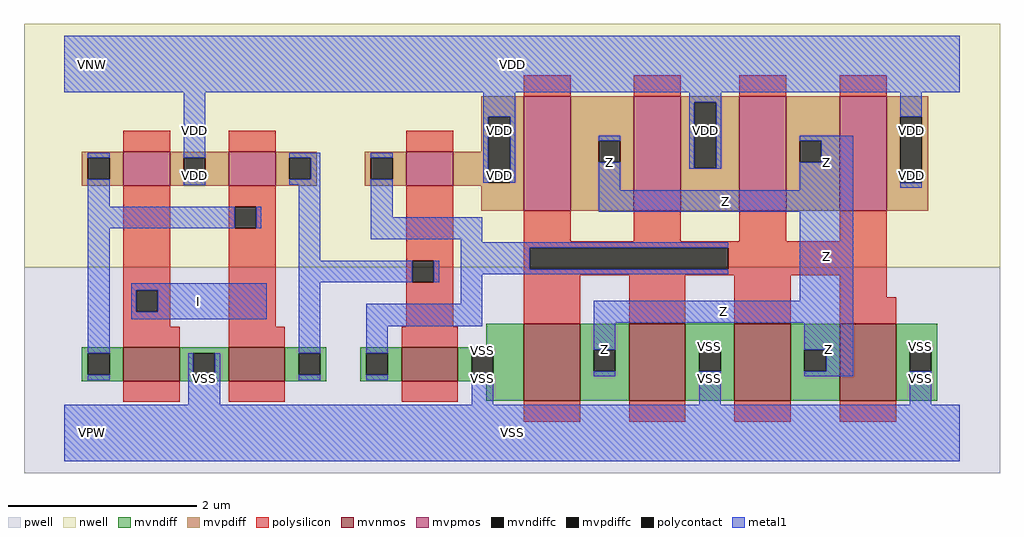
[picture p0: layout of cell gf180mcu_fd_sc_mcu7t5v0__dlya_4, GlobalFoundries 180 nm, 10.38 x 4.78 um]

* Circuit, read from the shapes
.subckt gf180mcu_fd_sc_mcu7t5v0__dlya_4 I Z VDD VNW VPW VSS
XM1 VSS I n1 VPW nfet_06v0 w=0.36u l=0.6u
XM2 n2 n1 VSS VPW nfet_06v0 w=0.36u l=0.6u
XM3 VSS n2 n3 VPW nfet_06v0 w=0.36u l=0.6u
XM4 Z n3 VSS VPW nfet_06v0 w=0.82u l=0.6u m=4
XM5 VDD I n1 VNW pfet_06v0 w=0.36u l=0.5u
XM6 n2 n1 VDD VNW pfet_06v0 w=0.36u l=0.5u
XM7 VDD n2 n3 VNW pfet_06v0 w=0.36u l=0.5u
XM8 Z n3 VDD VNW pfet_06v0 w=1.22u l=0.5u m=4
.ends

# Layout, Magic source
magic
tech gf180mcuD
magscale 1 10
<< nwell >>
rect -86 352 1990 870
<< pwell >>
rect -86 -86 1990 352
<< mvnmos >>
rect 125 110 245 182
rect 349 110 469 182
rect 717 110 837 182
rect 977 68 1097 232
rect 1201 68 1321 232
rect 1425 68 1545 232
rect 1649 68 1769 232
<< mvpmos >>
rect 125 526 225 598
rect 349 526 449 598
rect 727 526 827 598
rect 977 472 1077 716
rect 1211 472 1311 716
rect 1435 472 1535 716
rect 1649 472 1749 716
<< mvndiff >>
rect 897 182 977 232
rect 37 169 125 182
rect 37 123 50 169
rect 96 123 125 169
rect 37 110 125 123
rect 245 169 349 182
rect 245 123 274 169
rect 320 123 349 169
rect 245 110 349 123
rect 469 169 557 182
rect 469 123 498 169
rect 544 123 557 169
rect 469 110 557 123
rect 629 169 717 182
rect 629 123 642 169
rect 688 123 717 169
rect 629 110 717 123
rect 837 169 977 182
rect 837 123 866 169
rect 912 123 977 169
rect 837 110 977 123
rect 897 68 977 110
rect 1097 177 1201 232
rect 1097 131 1126 177
rect 1172 131 1201 177
rect 1097 68 1201 131
rect 1321 177 1425 232
rect 1321 131 1350 177
rect 1396 131 1425 177
rect 1321 68 1425 131
rect 1545 177 1649 232
rect 1545 131 1574 177
rect 1620 131 1649 177
rect 1545 68 1649 131
rect 1769 177 1857 232
rect 1769 131 1798 177
rect 1844 131 1857 177
rect 1769 68 1857 131
<< mvpdiff >>
rect 887 672 977 716
rect 887 598 902 672
rect 37 585 125 598
rect 37 539 50 585
rect 96 539 125 585
rect 37 526 125 539
rect 225 585 349 598
rect 225 539 254 585
rect 300 539 349 585
rect 225 526 349 539
rect 449 585 537 598
rect 449 539 478 585
rect 524 539 537 585
rect 449 526 537 539
rect 639 585 727 598
rect 639 539 652 585
rect 698 539 727 585
rect 639 526 727 539
rect 827 532 902 598
rect 948 532 977 672
rect 827 526 977 532
rect 887 472 977 526
rect 1077 621 1211 716
rect 1077 575 1136 621
rect 1182 575 1211 621
rect 1077 472 1211 575
rect 1311 703 1435 716
rect 1311 563 1340 703
rect 1386 563 1435 703
rect 1311 472 1435 563
rect 1535 621 1649 716
rect 1535 575 1564 621
rect 1610 575 1649 621
rect 1535 472 1649 575
rect 1749 672 1837 716
rect 1749 532 1778 672
rect 1824 532 1837 672
rect 1749 472 1837 532
<< mvndiffc >>
rect 50 123 96 169
rect 274 123 320 169
rect 498 123 544 169
rect 642 123 688 169
rect 866 123 912 169
rect 1126 131 1172 177
rect 1350 131 1396 177
rect 1574 131 1620 177
rect 1798 131 1844 177
<< mvpdiffc >>
rect 50 539 96 585
rect 254 539 300 585
rect 478 539 524 585
rect 652 539 698 585
rect 902 532 948 672
rect 1136 575 1182 621
rect 1340 563 1386 703
rect 1564 575 1610 621
rect 1778 532 1824 672
<< polysilicon >>
rect 977 716 1077 760
rect 1211 716 1311 760
rect 1435 716 1535 760
rect 1649 716 1749 760
rect 125 598 225 642
rect 349 598 449 642
rect 727 598 827 642
rect 125 303 225 526
rect 125 257 153 303
rect 199 257 225 303
rect 125 226 225 257
rect 349 481 449 526
rect 349 435 362 481
rect 408 435 449 481
rect 349 226 449 435
rect 727 366 827 526
rect 727 320 740 366
rect 786 320 827 366
rect 727 226 827 320
rect 977 407 1077 472
rect 1211 407 1311 472
rect 1435 407 1535 472
rect 1649 407 1749 472
rect 977 394 1749 407
rect 977 348 990 394
rect 1412 348 1749 394
rect 977 335 1749 348
rect 977 232 1097 335
rect 1201 232 1321 335
rect 1425 232 1545 335
rect 1649 288 1749 335
rect 1649 232 1769 288
rect 125 182 245 226
rect 349 182 469 226
rect 717 182 837 226
rect 125 66 245 110
rect 349 66 469 110
rect 717 66 837 110
rect 977 24 1097 68
rect 1201 24 1321 68
rect 1425 24 1545 68
rect 1649 24 1769 68
<< polycontact >>
rect 153 257 199 303
rect 362 435 408 481
rect 740 320 786 366
rect 990 348 1412 394
<< metal1 >>
rect 0 724 1904 844
rect 50 585 96 596
rect 50 481 96 539
rect 254 585 300 724
rect 891 672 959 724
rect 254 527 300 539
rect 478 585 544 596
rect 524 539 544 585
rect 478 528 544 539
rect 50 435 362 481
rect 408 435 419 481
rect 50 169 96 435
rect 498 366 544 528
rect 652 585 698 596
rect 652 459 698 539
rect 891 532 902 672
rect 948 532 959 672
rect 1329 703 1397 724
rect 1136 621 1182 632
rect 1136 516 1182 575
rect 1329 563 1340 703
rect 1386 563 1397 703
rect 1778 672 1824 724
rect 1329 562 1397 563
rect 1564 621 1678 632
rect 1610 575 1678 621
rect 1564 516 1678 575
rect 1778 521 1824 532
rect 1136 470 1678 516
rect 652 412 889 459
rect 843 405 889 412
rect 843 394 1412 405
rect 498 320 740 366
rect 786 320 797 366
rect 843 348 990 394
rect 843 337 1412 348
rect 142 303 430 318
rect 142 257 153 303
rect 199 257 430 303
rect 142 242 430 257
rect 498 169 544 320
rect 843 274 889 337
rect 1564 281 1678 470
rect 50 112 96 123
rect 263 123 274 169
rect 320 123 331 169
rect 263 60 331 123
rect 498 112 544 123
rect 642 227 889 274
rect 1126 234 1678 281
rect 642 169 688 227
rect 642 112 688 123
rect 866 169 912 181
rect 866 60 912 123
rect 1126 177 1172 234
rect 1126 120 1172 131
rect 1350 177 1396 188
rect 1350 60 1396 131
rect 1574 177 1678 234
rect 1620 131 1678 177
rect 1574 120 1678 131
rect 1798 177 1844 188
rect 1798 60 1844 131
rect 0 -60 1904 60
<< labels >>
flabel metal1 s 1798 181 1844 188 0 FreeSans 400 0 0 0 VSS
port 6 nsew ground bidirectional abutment
flabel metal1 s 1564 516 1678 632 0 FreeSans 400 0 0 0 Z
port 2 nsew default output
flabel metal1 s 142 242 430 318 0 FreeSans 400 0 0 0 I
port 1 nsew default input
flabel metal1 s 0 724 1904 844 0 FreeSans 400 0 0 0 VDD
port 3 nsew power bidirectional abutment
flabel nwell s 10 734 110 834 0 FreeSans 400 0 0 0 VNW
port 4 nsew power bidirectional
flabel pwell s 10 -50 110 50 0 FreeSans 400 0 0 0 VPW
port 5 nsew ground bidirectional
rlabel metal1 s 1136 516 1182 632 1 Z
port 2 nsew default output
rlabel metal1 s 1136 470 1678 516 1 Z
port 2 nsew default output
rlabel metal1 s 1564 281 1678 470 1 Z
port 2 nsew default output
rlabel metal1 s 1126 234 1678 281 1 Z
port 2 nsew default output
rlabel metal1 s 1574 120 1678 234 1 Z
port 2 nsew default output
rlabel metal1 s 1126 120 1172 234 1 Z
port 2 nsew default output
rlabel metal1 s 1778 562 1824 724 1 VDD
port 3 nsew power bidirectional abutment
rlabel metal1 s 1329 562 1397 724 1 VDD
port 3 nsew power bidirectional abutment
rlabel metal1 s 891 562 959 724 1 VDD
port 3 nsew power bidirectional abutment
rlabel metal1 s 254 562 300 724 1 VDD
port 3 nsew power bidirectional abutment
rlabel metal1 s 1778 532 1824 562 1 VDD
port 3 nsew power bidirectional abutment
rlabel metal1 s 891 532 959 562 1 VDD
port 3 nsew power bidirectional abutment
rlabel metal1 s 254 532 300 562 1 VDD
port 3 nsew power bidirectional abutment
rlabel metal1 s 1778 527 1824 532 1 VDD
port 3 nsew power bidirectional abutment
rlabel metal1 s 254 527 300 532 1 VDD
port 3 nsew power bidirectional abutment
rlabel metal1 s 1778 521 1824 527 1 VDD
port 3 nsew power bidirectional abutment
rlabel metal1 s 1350 181 1396 188 1 VSS
port 6 nsew ground bidirectional abutment
rlabel metal1 s 1798 169 1844 181 1 VSS
port 6 nsew ground bidirectional abutment
rlabel metal1 s 1350 169 1396 181 1 VSS
port 6 nsew ground bidirectional abutment
rlabel metal1 s 866 169 912 181 1 VSS
port 6 nsew ground bidirectional abutment
rlabel metal1 s 1798 60 1844 169 1 VSS
port 6 nsew ground bidirectional abutment
rlabel metal1 s 1350 60 1396 169 1 VSS
port 6 nsew ground bidirectional abutment
rlabel metal1 s 866 60 912 169 1 VSS
port 6 nsew ground bidirectional abutment
rlabel metal1 s 263 60 331 169 1 VSS
port 6 nsew ground bidirectional abutment
rlabel metal1 s 0 -60 1904 60 1 VSS
port 6 nsew ground bidirectional abutment
<< properties >>
string FIXED_BBOX 0 0 1904 784
string GDS_END 1090024
string GDS_FILE $PDKPATH/libs.ref/gf180mcu_fd_sc_mcu7t5v0/gds/gf180mcu_fd_sc_mcu7t5v0.gds
string GDS_START 1085188
string LEFclass core
string LEFsite GF018hv5v_mcu_sc7
string LEFsymmetry X Y
<< end >>
